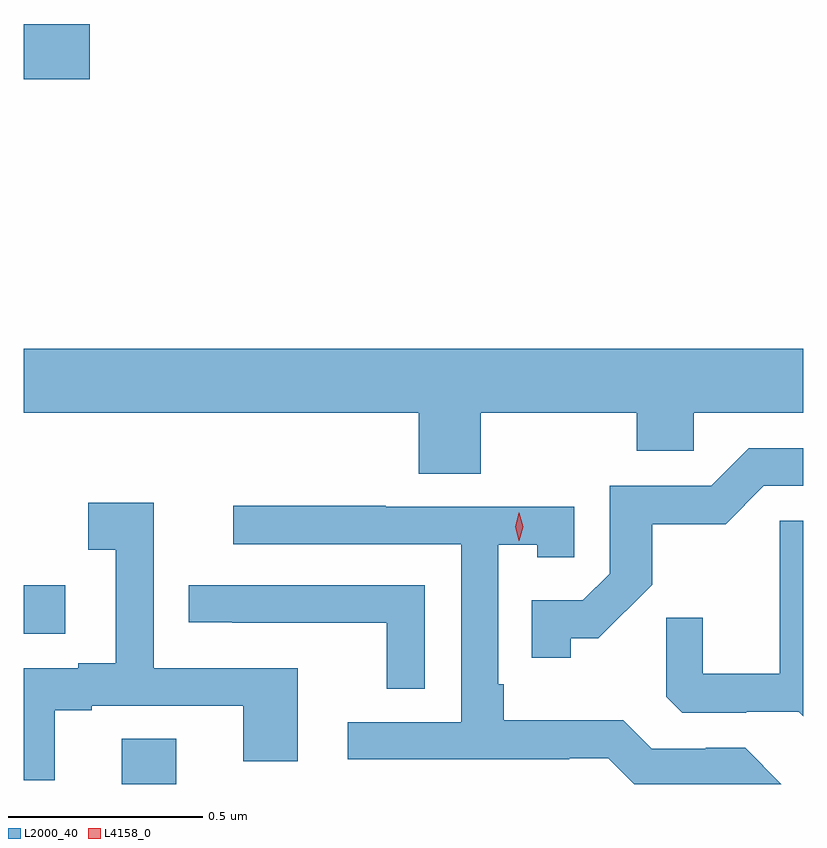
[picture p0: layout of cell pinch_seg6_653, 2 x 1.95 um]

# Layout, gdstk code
import gdstk
lib = gdstk.Library(unit=1e-6, precision=1e-09)
def R(c, l, rs):  # rectangles x0, y0, x1, y1
    for r in rs: c.add(gdstk.rectangle(r[:2], r[2:], *l))
def P(c, l, *ps):  # polygons
    for p in ps: c.add(gdstk.Polygon(p, *l))
L2000_40 = (2000, 40)
L4158_0 = (4158, 0)

pinch_seg6_653 = lib.new_cell('pinch_seg6_653')
R(pinch_seg6_653, L2000_40, [(432.881,973.023,433.021,973.139), (432.63,973.409,432.736,973.533), (432.63,974.831,432.799,974.973)])
P(pinch_seg6_653, L2000_40, [(433.803,973.976),(434.203,973.976),(434.203,973.878),(434.349,973.878),(434.349,973.976),(434.63,973.976),(434.63,974.14),(432.63,974.14),(432.63,973.976),(433.643,973.976),(433.643,973.819),(433.803,973.819)],
  [(434.034,973.397),(434.104,973.397),(434.242,973.534),(434.242,973.69),(434.431,973.69),(434.529,973.788),(434.63,973.788),(434.63,973.884),(434.49,973.884),(434.394,973.788),(434.133,973.788),(434.133,973.563),(434.064,973.494),(433.933,973.494),(433.933,973.347),(434.034,973.347)],
  [(432.709,973.212),(432.805,973.212),(432.805,973.224),(433.193,973.224),(433.193,973.081),(433.333,973.081),(433.333,973.32),(432.963,973.32),(432.963,973.744),(432.795,973.744),(432.795,973.624),(432.866,973.624),(432.866,973.333),(432.77,973.333),(432.77,973.32),(432.63,973.32),(432.63,973.032),(432.709,973.032)],
  [(434.481,973.116),(434.38,973.116),(434.38,973.113),(434.241,973.113),(434.168,973.186),(433.861,973.186),(433.861,973.279),(433.848,973.279),(433.848,973.637),(433.947,973.637),(433.947,973.605),(434.043,973.605),(434.043,973.734),(433.559,973.734),(433.559,973.737),(433.167,973.737),(433.167,973.638),(433.752,973.638),(433.752,973.182),(433.461,973.182),(433.461,973.086),(434.03,973.086),(434.03,973.089),(434.13,973.089),(434.196,973.023),(434.574,973.023)],
  [(434.63,973.698),(434.57,973.698),(434.57,973.306),(434.372,973.306),(434.372,973.449),(434.278,973.449),(434.278,973.247),(434.319,973.206),(434.484,973.206),(434.484,973.209),(434.618,973.209),(434.63,973.197)],
  [(433.659,973.533),(433.053,973.533),(433.053,973.438),(433.165,973.438),(433.165,973.437),(433.561,973.437),(433.561,973.267),(433.659,973.267)])
P(pinch_seg6_653, L4158_0, [(433.9,973.647),(433.891,973.683),(433.9,973.719),(433.901,973.719),(433.901,973.719),(433.911,973.683),(433.901,973.647),(433.901,973.647)])

lib.write_gds('pinch_seg6_653.gds')
